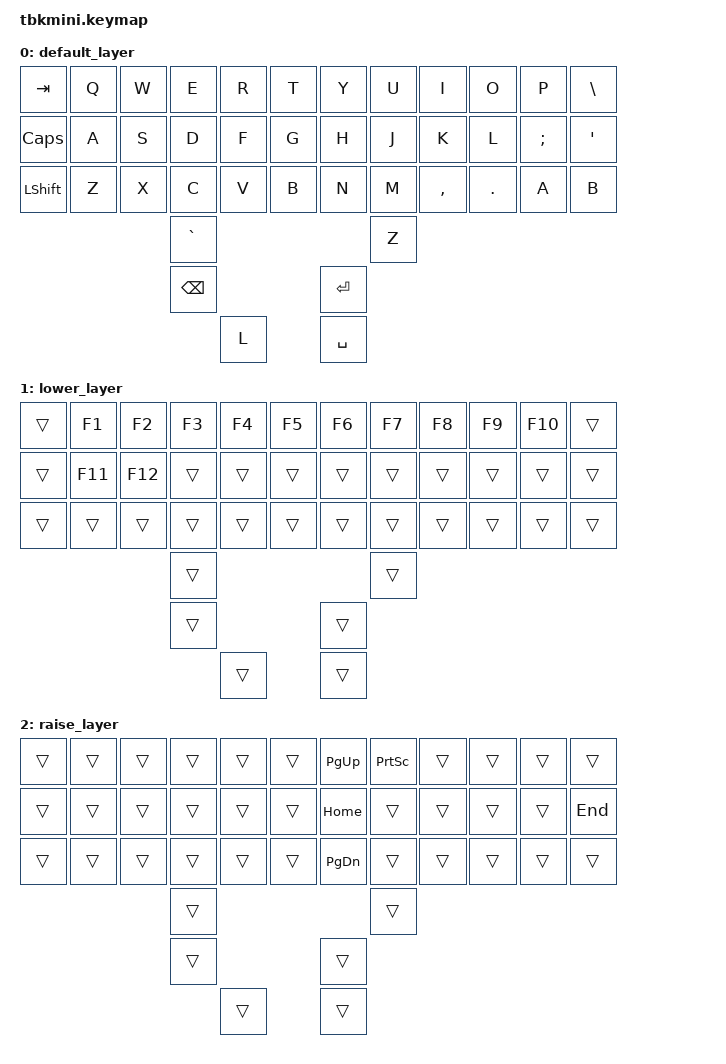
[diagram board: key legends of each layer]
#include <behaviors.dtsi>
#include <dt-bindings/zmk/bt.h>
#include <dt-bindings/zmk/keys.h>

#define DEFAULT 0
#define LOWER   1
#define RAISE   2

#define HYPER(key) LS(LC(LA(LG(key))))
#define MEH(key)   LS(LC(LA(key)))

&mt {
    tapping-term-ms = <500>;
};
                    
/ {

    behaviors {
        hm: homerow_mods {
            compatible = "zmk,behavior-hold-tap";
            #binding-cells = <2>;
            tapping-term-ms = <150>;
            quick-tap-ms = <0>;
            flavor = "tap-preferred";
            bindings = <&kp>, <&kp>;
        };
    };
};

/ {
        keymap {
        compatible = "zmk,keymap";

        default_layer {
            bindings = <
&kp TAB         &kp Q         &kp W        &kp E        &kp R   &kp T              &kp Y    &kp U   &kp I        &kp O       &kp P      &kp BSLH
&kp CAPS        &kp A         &kp S        &kp D        &kp F   &kp G              &kp H    &kp J   &kp K        &kp L       &kp SEMI   &kp SQT
&kp LSHFT       &kp Z         &kp X        &kp C        &kp V   &kp B              &kp N    &kp M   &kp COMMA    &kp DOT     &kp A      &kp B
                                             &kp GRAVE                                  &kp Z   
                                                &kp BSPC                             &kp RET
                                                    &kp L                        &kp SPACE
            >;
        };

        lower_layer {
            bindings = <
&trans   &kp F1    &kp F2   &kp F3  &kp F4  &kp F5            &kp F6  &kp F7   &kp F8   &kp F9    &kp F10  &trans
&trans   &kp F11   &kp F12  &trans  &trans  &trans            &trans  &trans    &trans  &trans    &trans   &trans
&trans   &trans    &trans   &trans  &trans  &trans            &trans  &trans    &trans  &trans    &trans   &trans
                            &trans                                          &trans  
                                     &trans                           &trans 
                                             &trans           &trans
            >;
        };

        raise_layer {
            bindings = <
&trans   &trans    &trans   &trans   &trans   &trans            &kp PG_UP  &kp PSCRN   &trans   &trans   &trans   &trans
&trans   &trans    &trans   &trans   &trans   &trans            &kp HOME   &trans      &trans   &trans   &trans   &kp END
&trans   &trans    &trans   &trans   &trans   &trans            &kp PG_DN  &trans      &trans   &trans   &trans   &trans
                            &trans                                          &trans  
                                     &trans                           &trans 
                                             &trans           &trans

            >;
        };

    };
};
